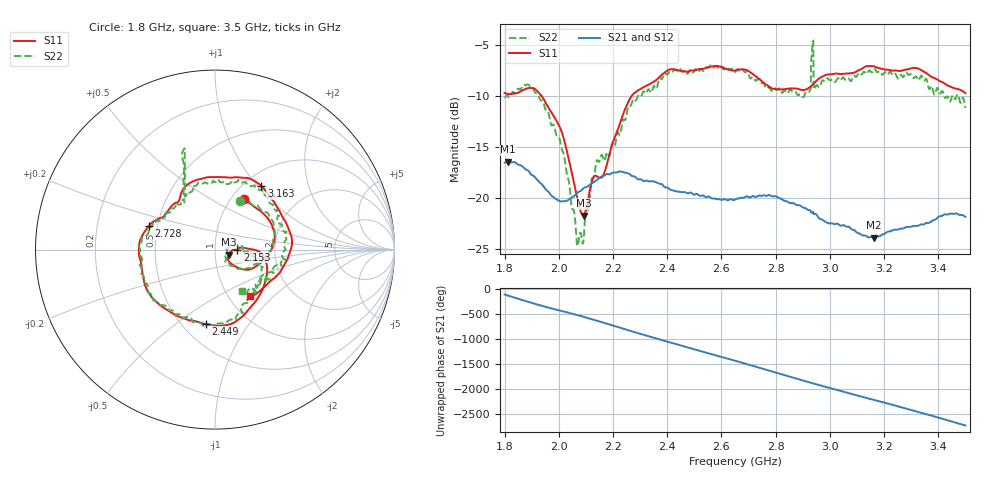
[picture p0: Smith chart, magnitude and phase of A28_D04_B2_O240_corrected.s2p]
! Created with skrf 1.9.0 (http://scikit-rf.org).
# Hz S RI R 50.0
!freq ReS11 ImS11 ReS21 ImS21 ReS12 ImS12 ReS22 ImS22
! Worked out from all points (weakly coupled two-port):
!   1601 points, 1.8 GHz to 3.5 GHz, reference 50 ohm
!   highest |S21| = -16.48 dB at 1.812 GHz (marker M1); lowest = -23.9 dB at 3.163 GHz (marker M2)
!   lowest |S11| = -21.8 dB at 2.091 GHz (marker M3), VSWR 1.18, Z = 58.2 - j3.39 ohm
!   |S11| at or under -10 dB: 1.935 GHz to 2.27 GHz (334.9 MHz wide, 15.9 % of centre)
!   |S22| runs from -24.8 to -4.6 dB; largest |S21 - S12| = 0.0023
!   S11 on the Smith chart (normalised r, x): 1.8 GHz: 1.15, +0.72; 2.153 GHz: 1.29, -0.00; 2.449 GHz: 0.65, -0.65; 2.728 GHz: 0.45, +0.14; 3.163 GHz: 1.19, +1.05; 3.5 GHz: 1.26, -0.73
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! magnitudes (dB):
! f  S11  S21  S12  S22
! 1.8 GHz  -9.7  -16.6  -16.6  -10.2
! 1.812 GHz  -9.8  -16.5  -16.5  -10.0
! 1.884 GHz  -9.3  -17.3  -17.3  -8.9
! 1.941 GHz  -10.2  -18.8  -18.8  -10.5
! 2.011 GHz  -13.6  -20.4  -20.3  -15.3
! 2.067 GHz  -19.9  -19.6  -19.6  -24.5
! 2.084 GHz  -21.5  -19.3  -19.2  -23.8
! 2.091 GHz  -21.8  -19.1  -19.1  -24.2
! 2.126 GHz  -18.1  -18.5  -18.5  -18.1
! 2.153 GHz  -18.1  -18.0  -18.0  -16.2
! 2.263 GHz  -10.3  -17.7  -17.7  -11.0
! 2.367 GHz  -8.3  -18.6  -18.5  -8.6
! 2.449 GHz  -7.6  -19.4  -19.4  -7.4
! 2.65 GHz  -7.6  -20.2  -20.2  -7.7
! 2.728 GHz  -8.1  -19.9  -19.9  -8.6
! 2.9 GHz  -9.5  -21.0  -20.9  -10.2
! 2.921 GHz  -9.3  -21.2  -21.2  -9.7
! 2.934 GHz  -9.0  -21.5  -21.5  -5.6
! 2.949 GHz  -8.6  -21.6  -21.7  -9.0
! 3.163 GHz  -7.1  -23.9  -23.9  -7.4
! 3.217 GHz  -7.5  -23.3  -23.3  -7.8
! 3.5 GHz  -9.8  -21.9  -21.8  -11.2
